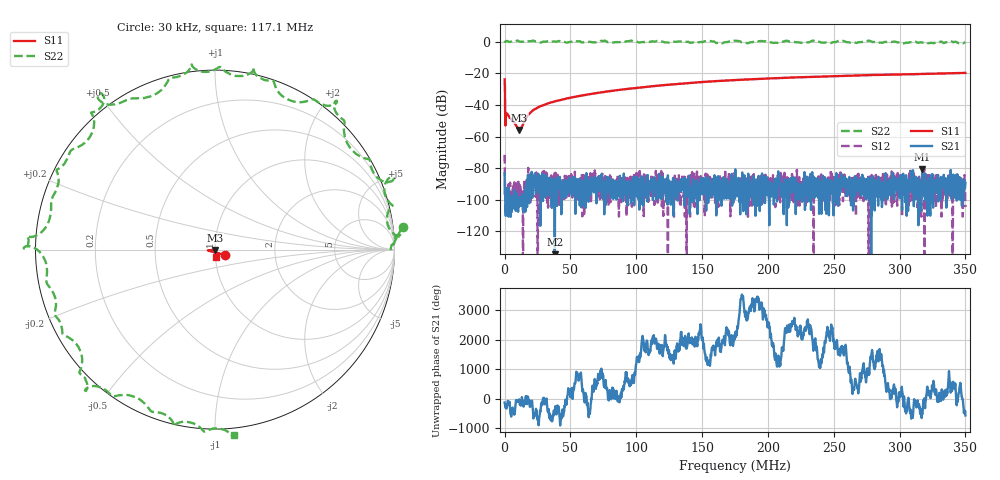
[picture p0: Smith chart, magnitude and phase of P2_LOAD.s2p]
# Hz S RI R 50
! RAW DATA - UNCALIBRATED
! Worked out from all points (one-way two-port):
!   1601 points, 30 kHz to 350 MHz, reference 50 ohm
!   highest |S21| = -80.65 dB at 317.2 MHz (marker M1); lowest = -191.7 dB at 38.09 MHz (marker M2)
!   lowest |S11| = -55.9 dB at 11.19 MHz (marker M3), VSWR 1.00, Z = 50 - j0.158 ohm
!   |S11| at or under -10 dB: start of sweep to end of sweep
!   |S22| runs from -1.1 to 0.7 dB; largest |S21 - S12| = 0.0003
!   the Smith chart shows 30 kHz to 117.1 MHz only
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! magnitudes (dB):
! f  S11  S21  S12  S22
! 30 kHz  -24.0  -83.2  -71.6  0.4
! 2.217 MHz  -45.9  -92.4  -93.2  0.3
! 11.19 MHz  -55.9  -100.5  -92.2  0.1
! 12.94 MHz  -54.3  -98.0  -95.7  -0.1
! 17.75 MHz  -46.6  -84.4  -89.4  0.1
! 21.25 MHz  -43.6  -96.7  -88.1  0.6
! 38.09 MHz  -37.8  -191.7  -96.9  0.1
! 58.43 MHz  -34.2  -96.0  -94.9  -0.4
! 116.8 MHz  -27.9  -98.4  -87.6  0.4
! 145.3 MHz  -25.9  -90.1  -92.4  -1.1
! 155.1 MHz  -25.3  -86.1  -85.2  0.5
! 164.3 MHz  -24.8  -94.5  -98.4  -0.8
! 175 MHz  -24.4  -99.3  -97.4  0.5
! 183.8 MHz  -24.0  -87.3  -93.6  -0.9
! 191.6 MHz  -23.7  -89.5  -92.4  0.5
! 227.1 MHz  -22.5  -99.1  -93.7  -0.9
! 233.4 MHz  -22.3  -86.4  -101.0  0.4
! 247 MHz  -21.9  -99.3  -86.4  -0.9
! 255.1 MHz  -21.7  -93.4  -82.7  0.2
! 291.8 MHz  -21.0  -94.1  -86.7  -0.2
! 317.2 MHz  -20.5  -80.7  -83.7  -0.6
! 350 MHz  -19.8  -89.3  -104.6  -0.4
